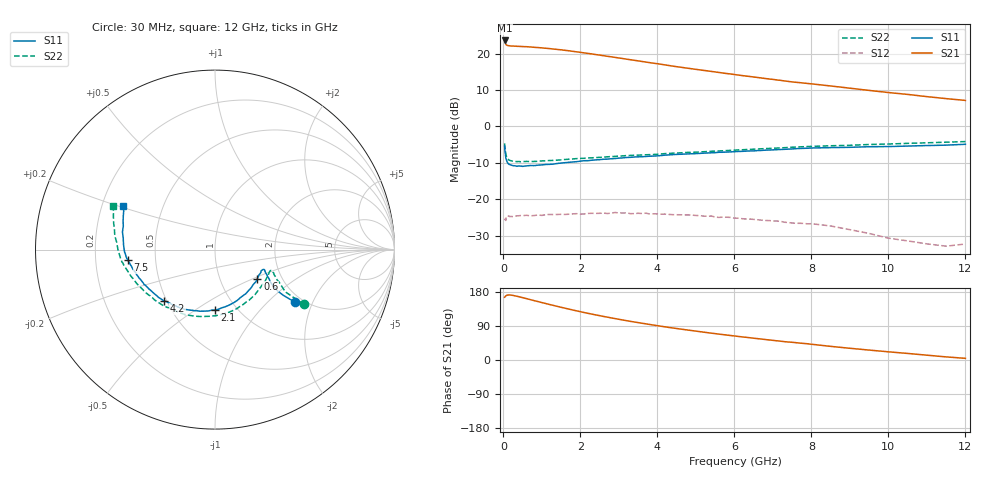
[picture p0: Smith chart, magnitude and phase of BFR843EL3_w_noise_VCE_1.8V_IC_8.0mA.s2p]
! Infineon Technologies  Discrete & RF Semiconductors
! BFR843EL3
! VCE =  1.8 V,  IC =  8.0 mA
! Common Emitter S-Parameters:  Aug 2013
# GHz  S  MA  R  50
!  f  S11  S21  S12  S22
! GHz  MAG  ANG  MAG  ANG  MAG  ANG  MAG  ANG
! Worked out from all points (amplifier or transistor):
!   103 points, 30 MHz to 12 GHz, reference 50 ohm
!   highest |S21| = 23.6 dB at 30 MHz (marker M1)
!   |S21| within 3 dB of that: start of sweep to 1.812 GHz
!   unconditionally stable (mu >= 1): 5.869 GHz to end of sweep
!   at 400 MHz: K = 0.99, MSG = 23.3 dB, |S12| = -24.6 dB
!   at 3.7 GHz: K = 0.82, MSG = 20.8 dB, |S12| = -23.8 dB
!   at 12 GHz: K = 3.76, MAG = 11.0 dB, |S12| = -32.3 dB
!   lowest NFmin = 0.89 dB at 450 MHz
!   S11 on the Smith chart (normalised r, x): 30 MHz: 1.82, -1.49; 600 MHz: 1.51, -0.53; 2.1 GHz: 0.79, -0.61; 4.2 GHz: 0.48, -0.33; 7.5 GHz: 0.34, -0.05; 12 GHz: 0.29, +0.21
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0.03  0.5332 -33.3  15.12 165.6  0.0515 32.2  0.5822 -31.6
0.04  0.4579 -33.8  14.31 166.7  0.0532 24.1  0.5036 -31.3
0.06  0.3701 -31.3  13.45 168.9  0.051 18.9  0.4229 -28.7
0.1  0.3222 -26.1  12.94 171.2  0.0569 11.5  0.3657 -23.8
0.15  0.3013 -22.6  12.76 171.7  0.0577 9.1  0.3431 -20.8
0.35  0.2827 -24.9  12.58 168.3  0.059 1.9  0.3276 -22.9
0.6  0.2863 -34.4  12.41 161.9  0.06 3.0  0.3298 -31.9
1  0.2953 -51.0  11.95 151.5  0.0598 1.3  0.3353 -48.0
1.4  0.309 -66.3  11.38 141.5  0.0616 1.3  0.3435 -62.9
1.7  0.3207 -77.2  10.91 134.3  0.0621 0.0  0.3537 -73.5
2.1  0.3373 -90.1  10.21 125.2  0.0627 -0.3  0.3643 -86.4
2.5  0.3488 -100.6  9.514 117.0  0.0639 -1.7  0.3752 -97.4
3  0.3658 -113.0  8.678 107.4  0.0646 -5.3  0.3905 -109.2
3.5  0.3812 -123.5  7.929 98.6  0.064 -7.3  0.4022 -119.7
4.1  0.3976 -133.3  7.117 89.0  0.0621 -10.0  0.4178 -129.6
4.2  0.4022 -134.9  6.981 87.4  0.0623 -9.6  0.4225 -131.4
5.1  0.4251 -148.0  5.963 74.8  0.0593 -12.8  0.4438 -144.6
6.1  0.4522 -159.5  5.061 62.2  0.0547 -17.1  0.475 -156.4
7.5  0.4891 -173.2  4.075 46.7  0.047 -19.6  0.5163 -170.6
8.5  0.5103 177.0  3.584 36.0  0.0428 -21.2  0.541 179.9
10.5  0.536 162.8  2.745 17.3  0.0267 -11.9  0.5838 165.3
12  0.5672 154.8  2.27 4.4  0.0242 22.8  0.6177 156.6
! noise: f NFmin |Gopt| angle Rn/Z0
0.45  0.89  0.09  34  0.12
0.9  0.9  0.1  48  0.12
1.5  0.92  0.11  60  0.13
1.9  0.94  0.11  65  0.13
2.4  0.96  0.12  79  0.12
3.5  0.99  0.13  96  0.12
5.5  1.05  0.18  132  0.11
8  1.12  0.28  170  0.07
10  1.18  0.4  209  0.06
